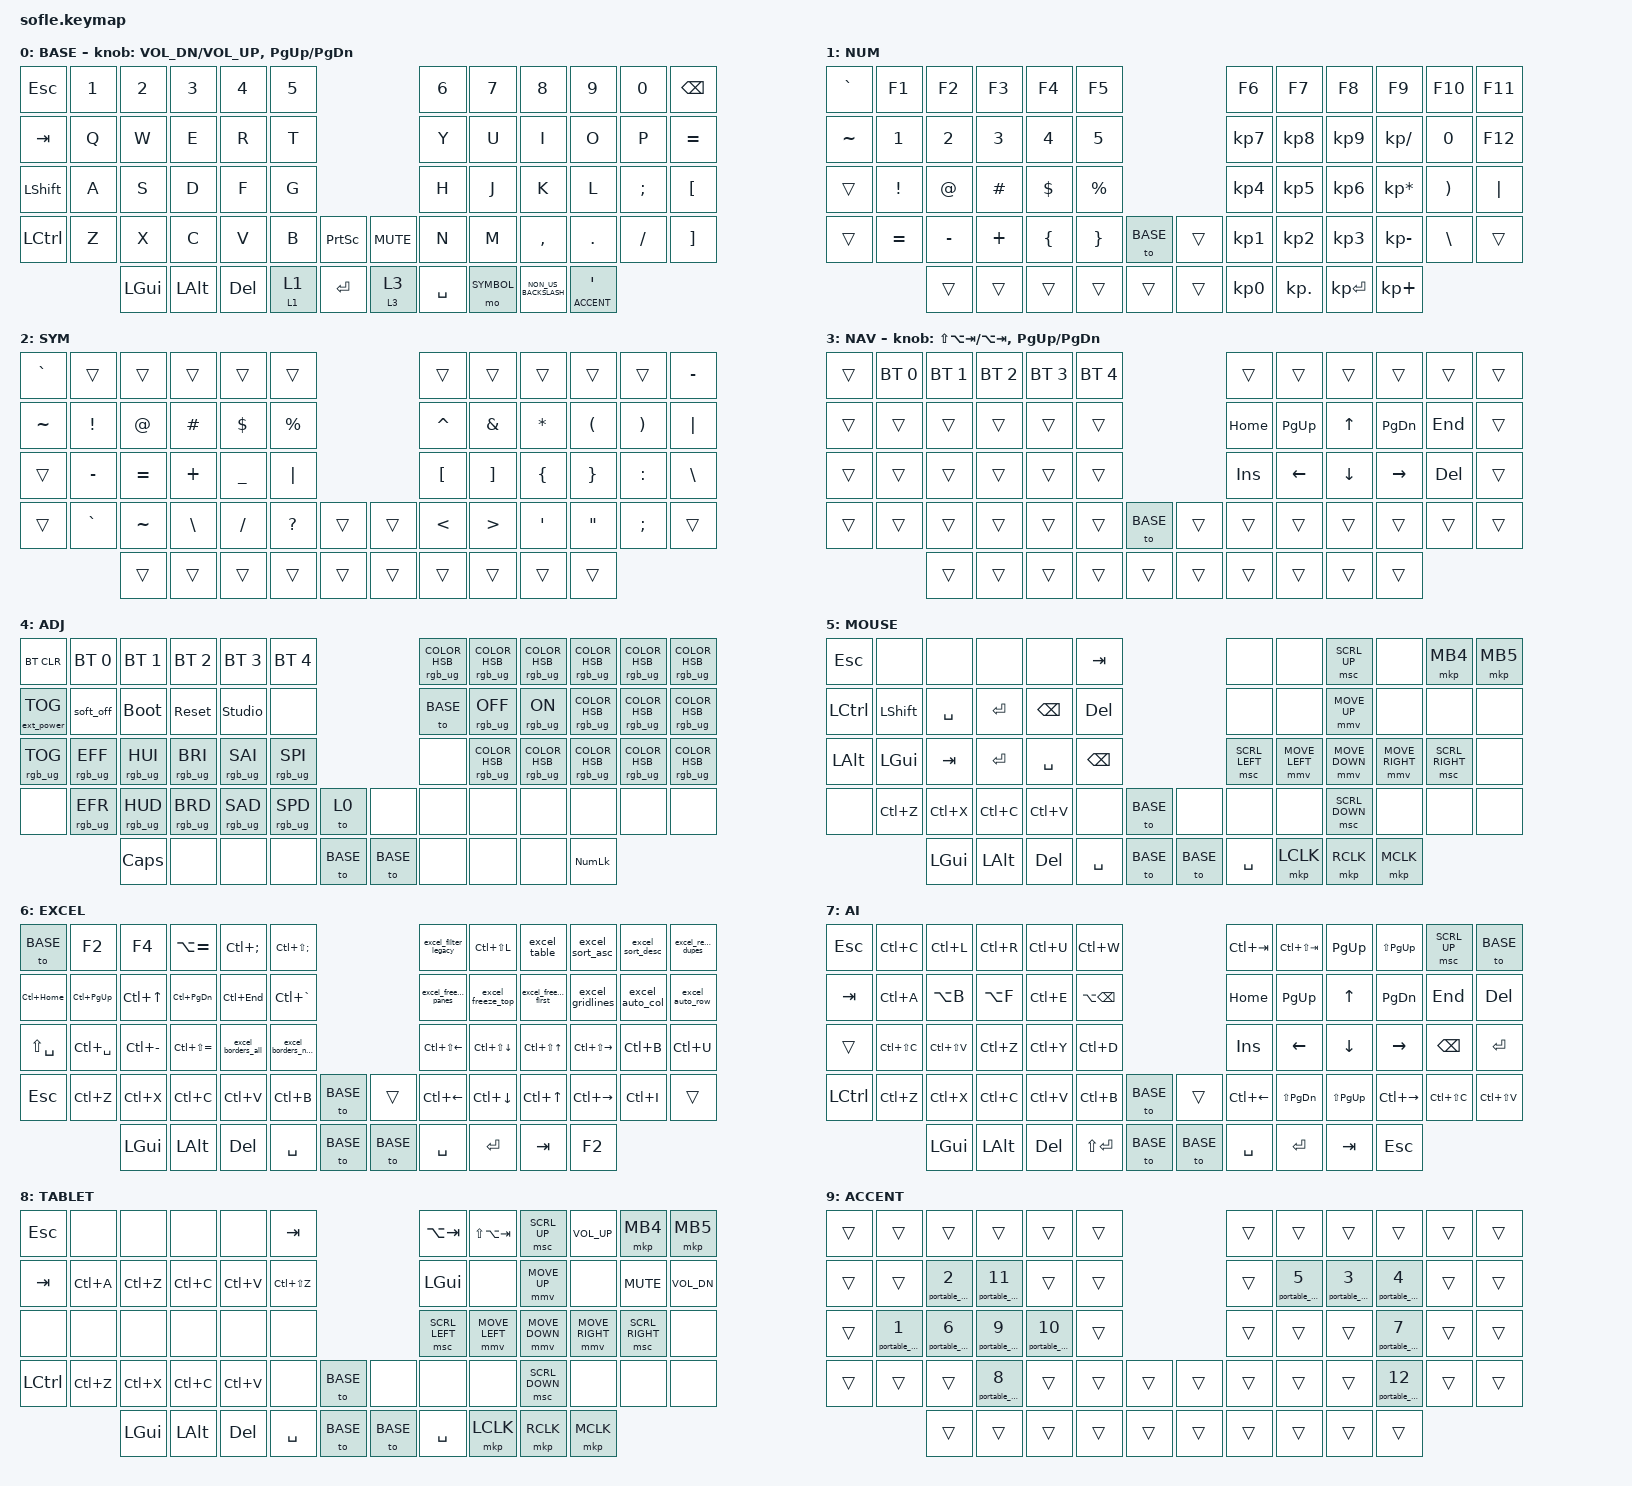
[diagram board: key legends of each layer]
/*
 * Copyright (c) 2020 The ZMK Contributors
 *
 * SPDX-License-Identifier: MIT
 */

#include <behaviors.dtsi>
#include <dt-bindings/zmk/bt.h>
#include <dt-bindings/zmk/ext_power.h>
#include <dt-bindings/zmk/keys.h>
#include <dt-bindings/zmk/pointing.h>
#include <dt-bindings/zmk/rgb.h>

#define BASE   0
#define NUMPAD 1
#define SYMBOL 2
#define NAV    3
#define ADJUST 4
#define MOUSE  5
#define EXCEL  6
#define AI     7
#define TABLET 8
#define ACCENT 9

/ {
    // Activate ADJUST layer by pressing raise and lower

    behaviors {
        ht_numpad: ht_numpad {
            compatible = "zmk,behavior-hold-tap";
            #binding-cells = <2>;
            flavor = "tap-preferred";
            tapping-term-ms = <220>;
            bindings = <&mo &tog>;
        };

        ht_nav: ht_nav {
            compatible = "zmk,behavior-hold-tap";
            #binding-cells = <2>;
            flavor = "tap-preferred";
            tapping-term-ms = <220>;
            bindings = <&mo &tog>;
        };

        ht_accent: ht_accent {
            compatible = "zmk,behavior-hold-tap";
            #binding-cells = <2>;
            flavor = "hold-preferred";
            tapping-term-ms = <220>;
            bindings = <&mo &kp>;
        };

        portable_accent: portable_accent {
            compatible = "zmk,behavior-portable-accent";
            #binding-cells = <1>;
        };
    };

    macros {
        excel_filter_legacy: excel_filter_legacy {
            compatible = "zmk,behavior-macro";
            #binding-cells = <0>;
            wait-ms = <80>;
            tap-ms = <40>;
            bindings = <&kp LALT>, <&macro_wait_time 180>, <&kp D>, <&macro_wait_time 80>, <&kp F &kp F>;
        };

        excel_freeze_panes: excel_freeze_panes {
            compatible = "zmk,behavior-macro";
            #binding-cells = <0>;
            wait-ms = <80>;
            tap-ms = <40>;
            bindings = <&kp LALT>, <&macro_wait_time 180>, <&kp W>, <&macro_wait_time 80>, <&kp F &kp F>;
        };

        excel_freeze_top: excel_freeze_top {
            compatible = "zmk,behavior-macro";
            #binding-cells = <0>;
            wait-ms = <80>;
            tap-ms = <40>;
            bindings = <&kp LALT>, <&macro_wait_time 180>, <&kp W>, <&macro_wait_time 80>, <&kp F &kp R>;
        };

        excel_freeze_first: excel_freeze_first {
            compatible = "zmk,behavior-macro";
            #binding-cells = <0>;
            wait-ms = <80>;
            tap-ms = <40>;
            bindings = <&kp LALT>, <&macro_wait_time 180>, <&kp W>, <&macro_wait_time 80>, <&kp F &kp C>;
        };

        excel_auto_col: excel_auto_col {
            compatible = "zmk,behavior-macro";
            #binding-cells = <0>;
            wait-ms = <80>;
            tap-ms = <40>;
            bindings = <&kp LALT>, <&macro_wait_time 180>, <&kp H>, <&macro_wait_time 80>, <&kp O &kp I>;
        };

        excel_auto_row: excel_auto_row {
            compatible = "zmk,behavior-macro";
            #binding-cells = <0>;
            wait-ms = <80>;
            tap-ms = <40>;
            bindings = <&kp LALT>, <&macro_wait_time 180>, <&kp H>, <&macro_wait_time 80>, <&kp O &kp A>;
        };

        excel_borders_all: excel_borders_all {
            compatible = "zmk,behavior-macro";
            #binding-cells = <0>;
            wait-ms = <80>;
            tap-ms = <40>;
            bindings = <&kp LALT>, <&macro_wait_time 180>, <&kp H>, <&macro_wait_time 80>, <&kp B &kp A>;
        };

        excel_borders_none: excel_borders_none {
            compatible = "zmk,behavior-macro";
            #binding-cells = <0>;
            wait-ms = <80>;
            tap-ms = <40>;
            bindings = <&kp LALT>, <&macro_wait_time 180>, <&kp H>, <&macro_wait_time 80>, <&kp B &kp N>;
        };

        excel_table: excel_table {
            compatible = "zmk,behavior-macro";
            #binding-cells = <0>;
            wait-ms = <80>;
            tap-ms = <40>;
            bindings = <&kp LALT>, <&macro_wait_time 180>, <&kp A>, <&macro_wait_time 80>, <&kp T>;
        };

        excel_sort_asc: excel_sort_asc {
            compatible = "zmk,behavior-macro";
            #binding-cells = <0>;
            wait-ms = <80>;
            tap-ms = <40>;
            bindings = <&kp LALT>, <&macro_wait_time 180>, <&kp A>, <&macro_wait_time 80>, <&kp S &kp A>;
        };

        excel_sort_desc: excel_sort_desc {
            compatible = "zmk,behavior-macro";
            #binding-cells = <0>;
            wait-ms = <80>;
            tap-ms = <40>;
            bindings = <&kp LALT>, <&macro_wait_time 180>, <&kp A>, <&macro_wait_time 80>, <&kp S &kp D>;
        };

        excel_remove_dupes: excel_remove_dupes {
            compatible = "zmk,behavior-macro";
            #binding-cells = <0>;
            wait-ms = <80>;
            tap-ms = <40>;
            bindings = <&kp LALT>, <&macro_wait_time 180>, <&kp A>, <&macro_wait_time 80>, <&kp M>;
        };

        excel_gridlines: excel_gridlines {
            compatible = "zmk,behavior-macro";
            #binding-cells = <0>;
            wait-ms = <80>;
            tap-ms = <40>;
            bindings = <&kp LALT>, <&macro_wait_time 180>, <&kp W>, <&macro_wait_time 80>, <&kp V &kp G>;
        };
    };

    combos {
        compatible = "zmk,combos";

        adjust_combo {
            timeout-ms = <50>;
            // NUM (53) + NAV (55): positions follow the physical thumb keys.
            key-positions = <53 55>;
            bindings = <&mo ADJUST>;
        };

        mouse_combo {
            timeout-ms = <50>;
            key-positions = <53 54>;
            bindings = <&tog MOUSE>;
        };

        excel_combo {
            timeout-ms = <50>;
            key-positions = <55 38>;
            bindings = <&tog EXCEL>;
        };

        ai_combo {
            timeout-ms = <50>;
            key-positions = <55 25>;
            bindings = <&tog AI>;
        };

        tablet_combo {
            timeout-ms = <50>;
            key-positions = <55 17>;
            bindings = <&tog TABLET>;
        };

    };

    keymap {
        compatible = "zmk,keymap";

        default_layer {
            display-name = "BASE";
            bindings = <
&kp ESC         &kp NUMBER_1  &kp NUMBER_2  &kp NUMBER_3  &kp NUMBER_4  &kp N5                                    &kp N6     &kp N7     &kp N8                &kp N9   &kp N0    &kp BACKSPACE
&kp TAB         &kp Q         &kp W         &kp E         &kp R         &kp T                                     &kp Y      &kp U      &kp I                 &kp O    &kp P     &kp EQUAL
&kp LEFT_SHIFT  &kp A         &kp S         &kp D         &kp F         &kp G                                     &kp H      &kp J      &kp K                 &kp L    &kp SEMI  &kp LEFT_BRACKET
&kp LCTRL       &kp Z         &kp X         &kp C         &kp V         &kp B      &kp PSCRN         &kp C_MUTE        &kp N      &kp M      &kp COMMA             &kp DOT  &kp FSLH  &kp RIGHT_BRACKET
&kp LGUI      &kp LALT      &kp DELETE    &ht_numpad 1 1  &kp ENTER  &ht_nav 3 3  &kp SPACE  &mo SYMBOL  &kp NON_US_BACKSLASH  &ht_accent ACCENT SQT
            >;

            sensor-bindings =
                <&inc_dec_kp C_VOL_DN C_VOL_UP>,
                <&inc_dec_kp PG_UP PG_DN>;
        };

        numpad_layer {
            display-name = "NUM";


            bindings = <
&kp GRAVE  &kp F1     &kp F2     &kp F3    &kp F4    &kp F5                       &kp F6     &kp F7      &kp F8        &kp F9           &kp F10   &kp F11
&kp TILDE  &kp N1     &kp N2     &kp N3    &kp N4    &kp N5                       &kp KP_N7  &kp KP_N8   &kp KP_N9     &kp KP_DIVIDE    &kp N0    &kp F12
&trans     &kp EXCL   &kp AT     &kp HASH  &kp DLLR  &kp PRCNT                    &kp KP_N4  &kp KP_N5   &kp KP_N6     &kp KP_MULTIPLY  &kp RPAR  &kp PIPE
&trans     &kp EQUAL  &kp MINUS  &kp PLUS  &kp LBRC  &kp RBRC   &to BASE     &trans  &kp KP_N1  &kp KP_N2   &kp KP_N3     &kp KP_MINUS     &kp BSLH  &trans
                      &trans     &trans    &trans    &trans     &trans    &trans  &kp KP_N0  &kp KP_DOT  &kp KP_ENTER  &kp KP_PLUS
            >;

        };

        symbol_layer {
            display-name = "SYM";
            bindings = <
&kp GRAVE  &trans     &trans     &trans    &trans    &trans                         &trans              &trans             &trans    &trans    &trans    &kp MINUS
&kp TILDE  &kp EXCL   &kp AT     &kp HASH  &kp DLLR  &kp PRCNT                      &kp CARET           &kp AMPS           &kp STAR  &kp LPAR  &kp RPAR  &kp PIPE
&trans     &kp MINUS  &kp EQUAL  &kp PLUS  &kp UNDER &kp PIPE                       &kp LEFT_BRACKET    &kp RIGHT_BRACKET  &kp LBRC  &kp RBRC  &kp COLON &kp BSLH
&trans     &kp GRAVE  &kp TILDE  &kp BSLH  &kp FSLH  &kp QMARK  &trans     &trans  &kp LT             &kp GT             &kp SQT   &kp DQT   &kp SEMI  &trans
                      &trans     &trans    &trans    &trans     &trans      &trans  &trans             &trans             &trans     &trans
            >;
        };

        nav_layer {
            display-name = "NAV";
            bindings = <
&trans  &bt BT_SEL 0  &bt BT_SEL 1  &bt BT_SEL 2  &bt BT_SEL 3  &bt BT_SEL 4              &trans    &trans     &trans    &trans     &trans   &trans
&trans  &trans        &trans        &trans        &trans        &trans                    &kp HOME  &kp PG_UP  &kp UP    &kp PG_DN  &kp END  &trans
&trans  &trans  &trans  &trans  &trans  &trans                      &kp INS   &kp LEFT   &kp DOWN  &kp RIGHT  &kp DEL  &trans
&trans  &trans  &trans  &trans  &trans  &trans  &to BASE    &trans  &trans    &trans     &trans    &trans     &trans   &trans
                &trans  &trans  &trans  &trans  &trans      &trans  &trans    &trans     &trans    &trans
            >;

            sensor-bindings =
                <&inc_dec_kp LS(LA(TAB)) LA(TAB)>,
                <&inc_dec_kp PG_UP PG_DN>;
        };

        adjust_layer {
            display-name = "ADJ";
            bindings = <
&bt BT_CLR         &bt BT_SEL 0     &bt BT_SEL 1     &bt BT_SEL 2     &bt BT_SEL 3     &bt BT_SEL 4                     &rgb_ug RGB_COLOR_HSB(0,100,1)    &rgb_ug RGB_COLOR_HSB(30,100,1)  &rgb_ug RGB_COLOR_HSB(60,100,1)  &rgb_ug RGB_COLOR_HSB(120,100,1)  &rgb_ug RGB_COLOR_HSB(180,100,1)  &rgb_ug RGB_COLOR_HSB(250,100,1)
&ext_power EP_TOG  &soft_off        &bootloader      &sys_reset       &studio_unlock   &none                            &to BASE                          &rgb_ug RGB_OFF                  &rgb_ug RGB_ON                  &rgb_ug RGB_COLOR_HSB(32,90,3)    &rgb_ug RGB_COLOR_HSB(185,70,4)   &rgb_ug RGB_COLOR_HSB(285,80,5)
&rgb_ug RGB_TOG    &rgb_ug RGB_EFF  &rgb_ug RGB_HUI  &rgb_ug RGB_BRI  &rgb_ug RGB_SAI  &rgb_ug RGB_SPI                  &none                             &rgb_ug RGB_COLOR_HSB(0,80,8)    &rgb_ug RGB_COLOR_HSB(45,90,8)   &rgb_ug RGB_COLOR_HSB(145,70,8)   &rgb_ug RGB_COLOR_HSB(215,80,8)   &rgb_ug RGB_COLOR_HSB(300,70,8)
&none              &rgb_ug RGB_EFR  &rgb_ug RGB_HUD  &rgb_ug RGB_BRD  &rgb_ug RGB_SAD  &rgb_ug RGB_SPD  &to 0    &none  &none                             &none                            &none                            &none                             &none                             &none
                                    &kp CAPSLOCK     &none            &none            &none            &to BASE &to BASE &none                            &none                            &none                            &kp KP_NUMLOCK
            >;
        };

        mouse_layer {
            display-name = "MOUSE";
            bindings = <
&kp ESC     &none           &none           &none           &none           &kp TAB                      &none           &none           &msc SCRL_UP    &none            &mkp MB4    &mkp MB5
&kp LCTRL   &kp LEFT_SHIFT  &kp SPACE       &kp ENTER       &kp BACKSPACE   &kp DELETE                   &none           &none           &mmv MOVE_UP    &none            &none       &none
&kp LALT    &kp LGUI        &kp TAB         &kp ENTER       &kp SPACE       &kp BACKSPACE                &msc SCRL_LEFT  &mmv MOVE_LEFT  &mmv MOVE_DOWN  &mmv MOVE_RIGHT  &msc SCRL_RIGHT  &none
&none       &kp LC(Z)       &kp LC(X)       &kp LC(C)       &kp LC(V)       &none        &to BASE  &none   &none           &none           &msc SCRL_DOWN  &none            &none            &none
                            &kp LGUI        &kp LALT        &kp DELETE      &kp SPACE    &to BASE  &to BASE &kp SPACE       &mkp LCLK       &mkp RCLK       &mkp MCLK
            >;
        };

        excel_layer {
            display-name = "EXCEL";
            bindings = <
&to BASE       &kp F2          &kp F4          &kp LA(EQUAL)     &kp LC(SEMI)      &kp LC(LS(SEMI))              &excel_filter_legacy  &kp LC(LS(L))       &excel_table       &excel_sort_asc    &excel_sort_desc   &excel_remove_dupes
&kp LC(HOME)   &kp LC(PG_UP)   &kp LC(UP)      &kp LC(PG_DN)     &kp LC(END)       &kp LC(GRAVE)                 &excel_freeze_panes   &excel_freeze_top   &excel_freeze_first &excel_gridlines   &excel_auto_col    &excel_auto_row
&kp LS(SPACE)  &kp LC(SPACE)   &kp LC(MINUS)   &kp LC(LS(EQUAL)) &excel_borders_all &excel_borders_none           &kp LC(LS(LEFT))      &kp LC(LS(DOWN))    &kp LC(LS(UP))    &kp LC(LS(RIGHT))  &kp LC(B)          &kp LC(U)
&kp ESC        &kp LC(Z)       &kp LC(X)       &kp LC(C)         &kp LC(V)         &kp LC(B)      &to BASE  &trans  &kp LC(LEFT)        &kp LC(DOWN)       &kp LC(UP)        &kp LC(RIGHT)      &kp LC(I)          &trans
                              &kp LGUI        &kp LALT          &kp DELETE        &kp SPACE       &to BASE  &to BASE &kp SPACE           &kp ENTER          &kp TAB           &kp F2
            >;
        };

        ai_layer {
            display-name = "AI";
            bindings = <
&kp ESC    &kp LC(C)       &kp LC(L)       &kp LC(R)      &kp LC(U)      &kp LC(W)                 &kp LC(TAB)    &kp LC(LS(TAB))  &kp PG_UP       &kp LS(PG_UP)    &msc SCRL_UP      &to BASE
&kp TAB    &kp LC(A)       &kp LA(B)       &kp LA(F)      &kp LC(E)      &kp LA(BACKSPACE)         &kp HOME       &kp PG_UP        &kp UP          &kp PG_DN        &kp END          &kp DEL
&trans     &kp LC(LS(C))   &kp LC(LS(V))   &kp LC(Z)      &kp LC(Y)      &kp LC(D)                 &kp INS        &kp LEFT         &kp DOWN        &kp RIGHT        &kp BACKSPACE    &kp ENTER
&kp LCTRL  &kp LC(Z)       &kp LC(X)       &kp LC(C)      &kp LC(V)      &kp LC(B)  &to BASE  &trans  &kp LC(LEFT)  &kp LS(PG_DN)  &kp LS(PG_UP)  &kp LC(RIGHT)  &kp LC(LS(C))  &kp LC(LS(V))
                          &kp LGUI        &kp LALT       &kp DELETE     &kp LS(ENTER) &to BASE  &to BASE &kp SPACE    &kp ENTER      &kp TAB        &kp ESC
            >;
        };

        tablet_layer {
            display-name = "TABLET";
            bindings = <
&kp ESC    &none        &none        &none        &none        &kp TAB                    &kp LA(TAB)    &kp LS(LA(TAB))  &msc SCRL_UP    &kp C_VOL_UP    &mkp MB4    &mkp MB5
&kp TAB    &kp LC(A)    &kp LC(Z)    &kp LC(C)    &kp LC(V)    &kp LC(LS(Z))              &kp LGUI       &none            &mmv MOVE_UP    &none           &kp C_MUTE  &kp C_VOL_DN
&none      &none        &none        &none        &none        &none                      &msc SCRL_LEFT &mmv MOVE_LEFT   &mmv MOVE_DOWN  &mmv MOVE_RIGHT &msc SCRL_RIGHT &none
&kp LCTRL  &kp LC(Z)    &kp LC(X)    &kp LC(C)    &kp LC(V)    &none       &to BASE  &none  &none          &none            &msc SCRL_DOWN  &none           &none      &none
                        &kp LGUI     &kp LALT     &kp DELETE   &kp SPACE   &to BASE  &to BASE &kp SPACE    &mkp LCLK        &mkp RCLK       &mkp MCLK
            >;
        };

        accent_layer {
            display-name = "ACCENT";
            bindings = <
&trans &trans &trans &trans &trans &trans  &trans &trans &trans &trans &trans &trans
&trans &trans &portable_accent 2 &portable_accent 11 &trans &trans  &trans &portable_accent 5 &portable_accent 3 &portable_accent 4 &trans &trans
&trans &portable_accent 1 &portable_accent 6 &portable_accent 9 &portable_accent 10 &trans  &trans &trans &trans &portable_accent 7 &trans &trans
&trans &trans &trans &portable_accent 8 &trans &trans &trans  &trans &trans &trans &trans &portable_accent 12 &trans &trans
       &trans &trans &trans &trans &trans &trans &trans &trans &trans &trans
            >;
        };
    };
};
